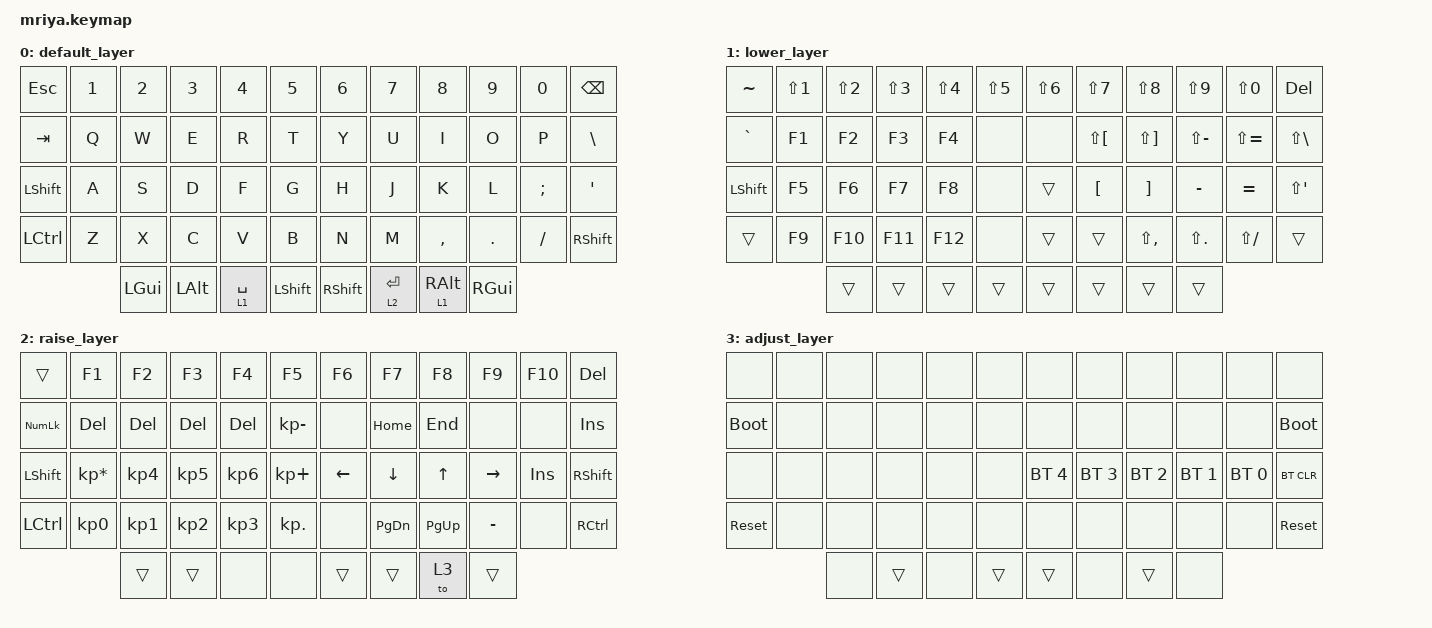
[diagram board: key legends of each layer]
/*
 * Copyright (c) 2023 Andrei Gaevskii
 *
 * SPDX-License-Identifier: MIT
 */

#include <behaviors.dtsi>
#include <dt-bindings/zmk/bt.h>
#include <dt-bindings/zmk/keys.h>

#define DEF 0
#define LWR 1
#define RSE 2
#define ADJ 3

&lt { quick_tap_ms = <200>; };

&mt { quick_tap_ms = <200>; };

/ {
    keymap {
        compatible = "zmk,keymap";

        default_layer {
            bindings = <
  &kp ESCAPE  &kp N1  &kp N2    &kp N3    &kp N4       &kp N5        &kp N6      &kp N7       &kp N8           &kp N9    &kp N0    &kp BACKSPACE
  &kp TAB     &kp Q   &kp W     &kp E     &kp R        &kp T         &kp Y       &kp U        &kp I            &kp O     &kp P     &kp BACKSLASH
  &kp LSHIFT  &kp A   &kp S     &kp D     &kp F        &kp G         &kp H       &kp J        &kp K            &kp L     &kp SEMI  &kp SINGLE_QUOTE
  &kp LCTRL   &kp Z   &kp X     &kp C     &kp V        &kp B         &kp N       &kp M        &kp COMMA        &kp DOT   &kp FSLH  &kp RSHIFT
                      &kp LGUI  &kp LALT  &lt 1 SPACE  &kp LSHIFT    &kp RSHIFT  &lt 2 ENTER  &lt 1 RIGHT_ALT  &kp RGUI
            >;
        };

        lower_layer {
            bindings = <
  &kp TILDE       &kp LS(NUMBER_1)  &kp LS(NUMBER_2)  &kp LS(NUMBER_3)  &kp LS(NUMBER_4)  &kp LS(NUMBER_5)    &kp LS(NUMBER_6)  &kp LS(NUMBER_7)      &kp LS(NUMBER_8)       &kp LS(NUMBER_9)  &kp LS(NUMBER_0)  &kp DELETE
  &kp GRAVE       &kp F1            &kp F2            &kp F3            &kp F4            &none               &none             &kp LS(LEFT_BRACKET)  &kp LS(RIGHT_BRACKET)  &kp LS(MINUS)     &kp LS(EQUAL)     &kp LS(BACKSLASH)
  &kp LEFT_SHIFT  &kp F5            &kp F6            &kp F7            &kp F8            &none               &trans            &kp LEFT_BRACKET      &kp RIGHT_BRACKET      &kp MINUS         &kp EQUAL         &kp LS(SINGLE_QUOTE)
  &trans          &kp F9            &kp F10           &kp F11           &kp F12           &none               &trans            &trans                &kp LS(COMMA)          &kp LS(PERIOD)    &kp LS(SLASH)     &trans
                                    &trans            &trans            &trans            &trans              &trans            &trans                &trans                 &trans
            >;
        };

        raise_layer {
            bindings = <
  &trans      &kp F1           &kp F2     &kp F3     &kp F4     &kp F5          &kp F6    &kp F7     &kp F8     &kp F9     &kp F10  &kp DELETE
  &kp KP_NUM  &kp DEL          &kp DEL    &kp DEL    &kp DEL    &kp KP_MINUS    &none     &kp HOME   &kp END    &none      &none    &kp INSERT
  &kp LSHFT   &kp KP_MULTIPLY  &kp KP_N4  &kp KP_N5  &kp KP_N6  &kp KP_PLUS     &kp LEFT  &kp DOWN   &kp UP     &kp RIGHT  &kp INS  &kp RSHFT
  &kp LCTRL   &kp KP_N0        &kp KP_N1  &kp KP_N2  &kp KP_N3  &kp KP_DOT      &none     &kp PG_DN  &kp PG_UP  &kp MINUS  &none    &kp RCTRL
                               &trans     &trans     &none      &none           &trans    &trans     &to 3      &trans
            >;
        };

        adjust_layer {
            bindings = <
  &none        &none  &none  &none   &none  &none     &none         &none         &none         &none         &none         &none
  &bootloader  &none  &none  &none   &none  &none     &none         &none         &none         &none         &none         &bootloader
  &none        &none  &none  &none   &none  &none     &bt BT_SEL 4  &bt BT_SEL 3  &bt BT_SEL 2  &bt BT_SEL 1  &bt BT_SEL 0  &bt BT_CLR
  &sys_reset   &none  &none  &none   &none  &none     &none         &none         &none         &none         &none         &sys_reset
                      &none  &trans  &none  &trans    &trans        &none         &trans        &none
            >;
        };
    };
};
